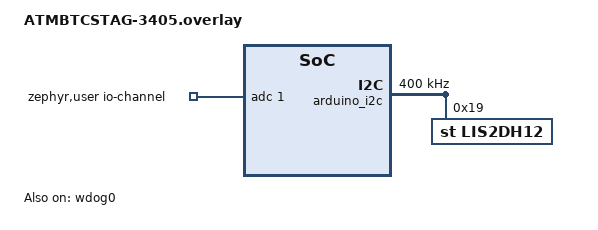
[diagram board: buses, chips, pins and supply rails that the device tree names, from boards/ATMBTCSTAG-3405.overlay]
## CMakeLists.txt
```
# Copyright (c) 2025-2026 Atmosic
#
# SPDX-License-Identifier: LicenseRef-Atmosic

cmake_minimum_required(VERSION 3.20.1)

find_package(Zephyr REQUIRED HINTS $ENV{ZEPHYR_BASE})
project(multimode_consumer_tag)

target_sources(app PRIVATE
  src/main.c
)

add_subdirectory(src/platform)
add_subdirectory_ifdef(CONFIG_AT_CMD_TAG_SET src/at_cmd)
```

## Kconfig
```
# Copyright (c) 2025-2026 Atmosic
#
# SPDX-License-Identifier: LicenseRef-Atmosic

module = MULTIMODE_CONSUMER_TAG
module-str = multimode_consumer_tag
source "subsys/logging/Kconfig.template.log_config"

config FMNA_TAG
	bool "Enable FMNA Tag"
	select ATM_FMNA
	default y

config FHN_TAG
	bool "Enable FHN Tag"
	select ATM_GFP
	select ATM_GFP_MUTLIMODE_TAG if FMNA_TAG || STF_TAG
	imply FAST_PAIR_AUTH_CB_GLOBAL if !FMNA_TAG && !STF_TAG
	default y

config STF_TAG
	bool "Enable STF Tag"
	select ATM_STF
	default y

config FMNA_DEV_CUSTOM_BT_ADDR
	bool "Enable custom Bluetooth device address for testing or development purposes"

config FMNA_DEV_CUSTOM_BT_ADDR_VALUE
	string "Custom Bluetooth address (MAC format: XX:XX:XX:XX:XX:XX)"
	depends on FMNA_DEV_CUSTOM_BT_ADDR
	default "ED:15:48:87:6E:EF"

config FMNA_PRODUCT_DATA
	string "FMNA Product Data"
	default "DFECEFF1E1FF54DB"

config FMNA_ACCESSORY_CATEGORY
	int "FMNA Accessory Category"
	range 0 255
	default 129

config FMNA_ACCESSORY_CAPABILITY
	int "FMNA Accessory Capability Bit Mask"
	range 0 65535
	default 31
	help
	  Bit 0: Supports play sound
	  Bit 1: Supports motion detector UT
	  Bit 2: Supports serial number lookup by NFC
	  Bit 3: Supports serial number lookup by BLE
	  Bit 4: Supports firmware update service

config FMNA_BATTERY_TYPE
	int "FMNA Battery Type"
	range 0 255
	default 1
	help
	  0: Powered
	  1: Non-rechargeable battery
	  2: Rechargeable battery

config FMNA_PID
	int "FMNA Product ID"
	range 0 65535
	default 51966

config FMNA_MANUFACTURER_NAME
	string "FMNA Manufacturer Name"
	default "Osprey"

config FMNA_MODEL_NAME
	string "FMNA Model Name"
	default "Bike"

config FMNA_HARDWARE_VERSION
	string "FMNA Hardware Version"
	default "1"

config FMNA_VERSION_MAJOR
	int "FMNA Version Major"
	range 0 65535
	default 1

config FMNA_VERSION_MINOR
	int "FMNA Version Minor"
	range 0 65535
	default 0

config FMNA_VERSION_REVISION
	int "FMNA Version Revision"
	range 0 65535
	default 18

config FMNA_CUSTOM_CONN_PARAMS
	bool "Request custom FMNA connection parameters after pairing"
	help
	  When enabled, the accessory requests the connection parameters below
	  after pairing. When disabled (default), the connection parameters are
	  left to the Apple device. Slave latency is always 0.

if FMNA_CUSTOM_CONN_PARAMS

config FMNA_CONN_INTERVAL_MIN
	int "Minimum connection interval (1.25 ms units)"
	range 6 3200
	default 756

config FMNA_CONN_INTERVAL_MAX
	int "Maximum connection interval (1.25 ms units)"
	range 6 3200
	default 792

config FMNA_CONN_TIMEOUT
	int "Supervision timeout (10 ms units)"
	range 10 3200
	default 600

endif # FMNA_CUSTOM_CONN_PARAMS

if FHN_TAG

config FHN_FW_VERSION
	string "FP Tag Firmware Version"
	default "1.0.0"
	help
	  Firmware version string for FHN tag. This version is returned by the
	  fp_tag_get_fw_version() function and used in FP tag operations.
	  The maximum length is (CONFIG_GFP_DIS_FW_VERSION_STR_MAX - 1).

config FHN_MOTION_DETECT_SUPPORT
	bool
	default y if !TAG_MOTION_SENSOR_TYPE_NONE || AT_CMD_TAGMOTIONRPT
	select DULT_MOTION_DETECT
	select DULT_MOTION_DETECT_TRIGGER if AT_CMD_TAGMOTIONRPT || (TAG_MOTION_SENSOR_TYPE_LIS2DH && LIS2DH_TRIGGER)
	select FMDN_OOB_MOTION_DETECT_TRIGGER if CONFIG_FMDN_PRECISION_FINDING && (AT_CMD_TAGMOTIONRPT || (TAG_MOTION_SENSOR_TYPE_LIS2DH && LIS2DH_TRIGGER))

rsource "fhn_tag.defconfig"

endif # FHN_TAG

config TAG_BUTTON
	bool "Enable physical button control"
	default y

config TAG_BTN_POWER_CTRL
	bool "Enable button power on/off control"
	depends on TAG_BUTTON
	select PM
	help
	  Enable button control for power on/off functionality.
	  2s press to power on/off with LED indication.

config TAG_BTN_FACTORY_RESET
	bool "Enable factory reset with long press button"
	depends on TAG_BUTTON
	help
	  Long press button for 10 secs to trigger factory reset in power on
	  state. Pressing 2 secs would trigger power off key first and keep
	  pressing until 10 secs would trigger factory reset then enter off state.

config TAG_BTN_BATT_REPORT
	bool "Enable battery level detection with button"
	depends on TAG_BUTTON
	help
	  Quick press button 5 times to show battery level with LED indication.

config TAG_OTA_MODE
	bool "Enable OTA mode"
	default y if BOOTLOADER_MCUBOOT && MCUMGR_TRANSPORT_BT
	help
	  Enable OTA firmware update mode. Enables platform_ctrl_ota and
	  allows entry via button tap or long press.

config TAG_BTN_OTA_TAP_CNT
	int "Number of taps to enter OTA mode (0 to disable)"
	depends on TAG_OTA_MODE
	default 10
	range 0 20
	help
	  Quick press button this many times to enter OTA mode.
	  Set to 0 to disable tap entry.

config TAG_BTN_OTA_LONG_PRESS_MS
	int "Button hold duration to enter OTA mode in ms (0 to disable)"
	depends on TAG_OTA_MODE
	default 0 if TAG_BTN_FACTORY_RESET
	default 7000
	range 0 60000
	help
	  Hold the button for this many milliseconds to enter OTA mode.
	  Set to 0 to disable long press entry.

config TAG_BTN_OTA_BOOT_WINDOW_MS
	int "Boot window for OTA mode entry in ms (0 to disable)"
	depends on TAG_OTA_MODE
	default 0
	range 0 3600000
	help
	  OTA mode can only be entered within this many milliseconds of booting.
	  After the window expires, tap and long-press will no longer trigger OTA
	  mode entry. Set to 0 to allow entry at any time.

config TAG_OTA_TIMEOUT_MS
	int "OTA mode inactivity timeout in ms (0 to disable)"
	depends on TAG_OTA_MODE
	default 0
	range 0 3600000
	help
	  Timeout in ms before the device reboots back to normal mode if no
	  DFU transfer completes. Set to 0 to disable the timeout.

config TAG_OTA_DEVICE_NAME
	string "OTA mode BLE device name"
	depends on TAG_OTA_MODE
	default "Atmosic OTA"
	help
	  BLE device name advertised when the device is in OTA mode.

config TAG_BTN_FMNA_SN_LOOKUP
	bool "Enable FMNA SN lookup with button short press 6 times"
	depends on TAG_BUTTON && FMNA_TAG
	default y
	help
	  Quick press button 6 times to enable the FMNA paired-owner serial
	  number (SN) readout. Required by Apple FindMy certification test #8:
	  the encrypted SN payload is non-readable in normal state and only
	  becomes readable for 5 minutes after this user action. After the
	  5 minute window the SN is automatically gated again with no further
	  user action.

config TAG_BTN_LOG_FMNA_MFI_TOKEN
	bool "Log MFI token with button short press 8 times"
	depends on TAG_BUTTON && FMNA_TAG
	default y
	help
	  Log MFI token with button short press 8 times.

config TAG_LED_IND
	bool "Enable LED indication for state and button"
	select LED
	help
	  Power on: Green LED blinks 3 times
	  Power off: Red LED blinks 3 times
	  Pairing mode: Green blink -> Red blink every 5 secs
	  Operation mode: Green LED blinks every 20 secs
	  Battery Status:
	    >90% 5 GREEN blinks
	    >60% 4 GREEN blinks
	    >30% 3 GREEN blinks
	    >10% 2 GREEN blinks
	    <=10% single GREEN blink

config TAG_SOC_OFF_TIMEOUT
	int "SOC off timeout in pairing mode (seconds)"
	range 0 300
	default 180
	help
	  Timeout in seconds to enter SOC_off mode when in pairing mode.
	  Set to 0 to disable timeout.

config TAG_BUZZER
	bool "Enable buzzer hardware support"
	default $(dt_nodelabel_enabled,pwm_buzzer0)

config TAG_AUDIO_FEEDBACK
	bool "Enable audio feedback for factory reset"
	select ATM_BUZZER
	depends on TAG_BUZZER
	help
	  Enable audio feedback when factory reset is triggered.

choice TAG_MOTION_SENSOR_TYPE
	prompt "Motion detection type"
	default TAG_MOTION_SENSOR_TYPE_LIS2DH if DT_HAS_ST_LIS2DH_ENABLED
	default TAG_MOTION_SENSOR_TYPE_NONE

config TAG_MOTION_SENSOR_TYPE_LIS2DH
	bool "LIS2DH motion sensor"
	select LIS2DH
	select SENSOR

config TAG_MOTION_SENSOR_TYPE_NONE
	bool "No motion detection"

endchoice

config ATM_LL_HEAP_SIZE
	int "Override LL heap size"
	default 41396 if ATM_LCROM_IFACE && ATMWSTK_PD50
	default 36364 if ATM_ENA_LL_FEAT_CS && ATMWSTK_PD50
	default 61396 if ATM_LCROM_IFACE && ATMWSTK_CPD200
	default 81396 if ATM_LCROM_IFACE
	default 28656

config APP_WORK_Q_STACK_SIZE
	int "Application work queue stack size"
	default 4096

config MCUMGR_MGMT_NOTIFICATION_HOOKS
	bool "Enable MCUmgr notification hooks"
	default y if MCUMGR_TRANSPORT_UART

config MCUMGR_GRP_IMG_STATUS_HOOKS
	bool "Enable MCUmgr image status hooks"
	default y if MCUMGR_TRANSPORT_UART

source "Kconfig.zephyr"
```

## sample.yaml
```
# Copyright (c) 2026 Atmosic
#
# SPDX-License-Identifier: LicenseRef-Atmosic

sample:
  description: FMNA and FHN Multimode Consumer Tag
  name: FMNA and FHN Multimode Consumer Tag
common:
  sysbuild: true
  harness: console
  # app.overlay aliases sw0 to &button1, so it only compiles on a board
  # declaring a second user button.
  depends_on:
    - button1
  tags:
    - multimode_consumer_tag
    - bluetooth
tests:
  applications.multimode_consumer_tag.atm:
    extra_args:
      - SB_ATM_DTS_EXTRA_CPPFLAGS="-DATM_STORAGE_SIZE=0x1000"
      - EXTRA_CONF_FILE="stf_tag.conf"
    harness_config:
      type: multi_line
      regex:
      - "fmna: Advertising successfully started"
      - "fp: FP Discoverable Advertising successfully started"
      - "advP:"
  applications.multimode_consumer_tag.atm.default_storage_size:
    extra_args:
      - EXTRA_CONF_FILE="stf_tag.conf"
    harness_config:
      type: multi_line
      regex:
      - "fmna: Advertising successfully started"
      - "fp: FP Discoverable Advertising successfully started"
      - "advP:"
  applications.multimode_consumer_tag.atm.fhn_only:
    extra_args:
      - SB_ATM_DTS_EXTRA_CPPFLAGS="-DATM_STORAGE_SIZE=0x1000"
    extra_configs:
      - CONFIG_STF_TAG=n
      - CONFIG_FMNA_TAG=n
      - CONFIG_GEN_TAG_DATA_BIN_FILE=n
    harness_config:
      type: one_line
      regex:
      - "Press button to start pairing"
  applications.multimode_consumer_tag.atm.fmna_only:
    extra_args:
      - SB_ATM_DTS_EXTRA_CPPFLAGS="-DATM_STORAGE_SIZE=0x2000"
    extra_configs:
      - CONFIG_STF_TAG=n
      - CONFIG_FHN_TAG=n
    harness_config:
      type: one_line
      regex:
      - "fmna: Advertising successfully started"
  applications.multimode_consumer_tag.atm.stf_only:
    extra_args:
      - SB_ATM_DTS_EXTRA_CPPFLAGS="-DATM_STORAGE_SIZE=0x1000"
      - EXTRA_CONF_FILE="stf_tag.conf"
    extra_configs:
      - CONFIG_FHN_TAG=n
      - CONFIG_FMNA_TAG=n
      - CONFIG_BATT_MODEL_COIN=n
      - CONFIG_ATM_STF_MULTI_MODE=n
      - CONFIG_BT_EXT_ADV=n
      - CONFIG_BT_SETTINGS=n
      - CONFIG_GEN_TAG_DATA_BIN_FILE=n
    harness_config:
      type: one_line
      regex:
      - "advP:"
  applications.multimode_consumer_tag.atm.fhn_fmna_tag:
    tags:
      - openair_release
    extra_args:
      - SB_ATM_DTS_EXTRA_CPPFLAGS="-DATM_STORAGE_SIZE=0x1000"
    extra_configs:
      - CONFIG_STF_TAG=n
    harness_config:
      type: multi_line
      regex:
      - "fmna: Advertising successfully started"
      - "fp: FP Discoverable Advertising successfully started"
  applications.multimode_consumer_tag.atm.stf_fmna_tag:
    extra_args:
      - SB_ATM_DTS_EXTRA_CPPFLAGS="-DATM_STORAGE_SIZE=0x1000"
      - EXTRA_CONF_FILE="stf_tag.conf"
    extra_configs:
      - CONFIG_FHN_TAG=n
    harness_config:
      type: multi_line
      regex:
      - "fmna: Advertising successfully started"
      - "advP:"
  applications.multimode_consumer_tag.atm.stf_fhn_tag:
    extra_args:
      - EXTRA_CONF_FILE="stf_tag.conf"
    extra_configs:
      - CONFIG_FMNA_TAG=n
      - CONFIG_GEN_TAG_DATA_BIN_FILE=n
    harness_config:
      type: multi_line
      regex:
      - "fp: FP Discoverable Advertising successfully started"
      - "advP:"
  applications.multimode_consumer_tag.atm.fhn_only.mcuboot.ota:
    tags:
      - mcuboot
    extra_args:
      - SB_ATM_DTS_EXTRA_CPPFLAGS="-DATM_STORAGE_SIZE=0x1000"
      - SB_CONFIG_BOOTLOADER_MCUBOOT=y
      - SB_CONFIG_BOOT_SIGNATURE_TYPE_ECDSA_P256=y
      - SB_CONFIG_MCUBOOT_MODE_SWAP_USING_OFFSET=y
      - EXTRA_CONF_FILE="basic_ota_bt.conf"
    extra_configs:
      - CONFIG_STF_TAG=n
      - CONFIG_FMNA_TAG=n
      - CONFIG_GEN_TAG_DATA_BIN_FILE=n
    harness_config:
      type: one_line
      regex:
      - "Press button to start pairing"
  applications.multimode_consumer_tag.atm.fmna_only.mcuboot.uarp:
    tags:
      - mcuboot
    extra_args:
      - SB_CONFIG_BOOTLOADER_MCUBOOT=y
      - SB_CONFIG_BOOT_SIGNATURE_TYPE_ECDSA_P256=y
      - SB_CONFIG_MCUBOOT_MODE_SWAP_USING_OFFSET=y
      - SB_ATM_DTS_EXTRA_CPPFLAGS="-DATM_STORAGE_SIZE=0x2000"
    extra_configs:
      - CONFIG_STF_TAG=n
      - CONFIG_FHN_TAG=n
      - CONFIG_USE_UARP=y
    harness_config:
      type: one_line
      regex:
      - "fmna: Advertising successfully started"
  applications.multimode_consumer_tag.atm.stf_only.mcuboot.native_fw_update_only:
    tags:
      - mcuboot
    extra_args:
      - SB_ATM_DTS_EXTRA_CPPFLAGS="-DATM_STORAGE_SIZE=0x1000"
      - SB_CONFIG_BOOTLOADER_MCUBOOT=y
      - SB_CONFIG_BOOT_SIGNATURE_TYPE_ECDSA_P256=y
      - SB_CONFIG_MCUBOOT_MODE_SWAP_SCRATCH=y
      - SB_ATM_DTS_EXTRA_CPPFLAGS="-DATM_MCUBOOT_SWAP_WITH_OFFSET=0"
      - EXTRA_CONF_FILE="stf_tag.conf"
    extra_configs:
      - CONFIG_FHN_TAG=n
      - CONFIG_FMNA_TAG=n
      - CONFIG_BATT_MODEL_COIN=n
      - CONFIG_ATM_STF_MULTI_MODE=n
      - CONFIG_BT_EXT_ADV=n
      - CONFIG_BT_SETTINGS=n
      - CONFIG_GEN_TAG_DATA_BIN_FILE=n
    harness_config:
      type: one_line
      regex:
      - "advP:"
  applications.multimode_consumer_tag.atm.stf_only.mcuboot.ota:
    tags:
      - mcuboot
    extra_args:
      - SB_ATM_DTS_EXTRA_CPPFLAGS="-DATM_STORAGE_SIZE=0x1000"
      - SB_CONFIG_BOOTLOADER_MCUBOOT=y
      - SB_CONFIG_BOOT_SIGNATURE_TYPE_ECDSA_P256=y
      - SB_CONFIG_MCUBOOT_MODE_SWAP_USING_OFFSET=y
      - EXTRA_CONF_FILE="basic_ota_bt.conf;stf_tag.conf"
    extra_configs:
      - CONFIG_FHN_TAG=n
      - CONFIG_FMNA_TAG=n
      - CONFIG_BATT_MODEL_COIN=n
      - CONFIG_GEN_TAG_DATA_BIN_FILE=n
    harness_config:
      type: one_line
      regex:
      - "advP:"

  applications.multimode_consumer_tag.atm.fhn_fmna_tag.mcuboot.overwrite.ota:
    tags:
      - mcuboot
      - overwrite
    extra_args:
      - SB_CONFIG_BOOTLOADER_MCUBOOT=y
      - SB_CONFIG_BOOT_SIGNATURE_TYPE_ECDSA_P256=y
      - SB_CONFIG_MCUBOOT_MODE_OVERWRITE_ONLY=y
      - SB_ATM_DTS_EXTRA_CPPFLAGS="-DATM_STORAGE_SIZE=0x1000;-DATM_MCUBOOT_SCRATCH_SIZE=0;-DATM_MCUBOOT_SWAP_WITH_OFFSET=0"
      - EXTRA_CONF_FILE="basic_ota_bt.conf"
    extra_configs:
      - CONFIG_STF_TAG=n
      - CONFIG_ATM_FMNA_LIB_DEBUG=n
      - CONFIG_ATM_FMNA_GATT_DEBUG=y
    harness_config:
      type: multi_line
      regex:
      - "fmna: Advertising successfully started"
      - "fp: FP Discoverable Advertising successfully started"
  applications.multimode_consumer_tag.atm.fhn_fmna_tag.mcuboot.legacy_scratch.ota:
    tags:
      - mcuboot
      - legacy
    extra_args:
      - SB_CONFIG_BOOTLOADER_MCUBOOT=y
      - SB_CONFIG_BOOT_SIGNATURE_TYPE_ECDSA_P256=y
      - SB_CONFIG_MCUBOOT_MODE_SWAP_SCRATCH=y
      - SB_ATM_DTS_EXTRA_CPPFLAGS="-DATM_STORAGE_SIZE=0x1000;-DATM_MCUBOOT_SWAP_WITH_OFFSET=0"
      - EXTRA_CONF_FILE="basic_ota_bt.conf"
    extra_configs:
      - CONFIG_STF_TAG=n
      - CONFIG_ATM_FMNA_LIB_DEBUG=n
      - CONFIG_ATM_FMNA_GATT_DEBUG=y
    harness_config:
      type: multi_line
      regex:
      - "fmna: Advertising successfully started"
      - "fp: FP Discoverable Advertising successfully started"
  applications.multimode_consumer_tag.atm.stf_fmna_tag.mcuboot.overwrite.ota:
    tags:
      - mcuboot
      - overwrite
    depends_on:
      - atlc
    extra_args:
      - SB_CONFIG_BOOTLOADER_MCUBOOT=y
      - SB_CONFIG_BOOT_SIGNATURE_TYPE_ECDSA_P256=y
      - SB_CONFIG_MCUBOOT_MODE_OVERWRITE_ONLY=y
      - SB_ATM_DTS_EXTRA_CPPFLAGS="-DATM_STORAGE_SIZE=0x1000;-DATM_MCUBOOT_SCRATCH_SIZE=0;-DATM_MCUBOOT_SWAP_WITH_OFFSET=0"
      - EXTRA_CONF_FILE="basic_ota_bt.conf;stf_tag.conf"
    extra_configs:
      - CONFIG_FHN_TAG=n
      - CONFIG_ATM_FMNA_LIB_DEBUG=n
      - CONFIG_ATM_FMNA_GATT_DEBUG=y
    harness_config:
      type: multi_line
      regex:
      - "fmna: Advertising successfully started"
      - "advP:"
  applications.multimode_consumer_tag.atm.stf_fmna_tag.mcuboot.legacy_scratch.ota:
    tags:
      - mcuboot
      - legacy
    depends_on:
      - atlc
    extra_args:
      - SB_CONFIG_BOOTLOADER_MCUBOOT=y
      - SB_CONFIG_BOOT_SIGNATURE_TYPE_ECDSA_P256=y
      - SB_CONFIG_MCUBOOT_MODE_SWAP_SCRATCH=y
      - SB_ATM_DTS_EXTRA_CPPFLAGS="-DATM_STORAGE_SIZE=0x1000;-DATM_MCUBOOT_SWAP_WITH_OFFSET=0"
      - EXTRA_CONF_FILE="basic_ota_bt.conf;stf_tag.conf"
    extra_configs:
      - CONFIG_FHN_TAG=n
      - CONFIG_ATM_FMNA_LIB_DEBUG=n
      - CONFIG_ATM_FMNA_GATT_DEBUG=y
    harness_config:
      type: multi_line
      regex:
      - "fmna: Advertising successfully started"
      - "advP:"
  applications.multimode_consumer_tag.atm.mcuboot.flash_xip.ota:
    tags:
      - mcuboot
      - flash_xip
    depends_on: &flash_xip_depends
      - flash
      - rram
      - xip
    extra_args:
      - SB_CONFIG_BOOTLOADER_MCUBOOT=y
      - SB_CONFIG_BOOT_SIGNATURE_TYPE_ECDSA_P256=y
      - SB_CONFIG_MCUBOOT_MODE_SWAP_USING_OFFSET=y
      - SB_ATM_DTS_EXTRA_CPPFLAGS="-DATM_APP_FLASH_XIP;-DATM_STORAGE_SIZE=0x1000;-DATM_MCUBOOT_SCRATCH_SIZE=0"
      - mcuboot_CONFIG_UPDATEABLE_IMAGE_NUMBER=2
      - EXTRA_CONF_FILE="basic_ota_bt.conf;stf_tag.conf"
    harness_config:
      type: multi_line
      regex:
      - "fmna: Advertising successfully started"
      - "fp: FP Discoverable Advertising successfully started"
      - "advP:"
  applications.multimode_consumer_tag.atm.mcuboot.flash_xip.overwrite.ota:
    tags:
      - mcuboot
      - flash_xip
      - overwrite
    depends_on: *flash_xip_depends
    extra_args:
      - SB_CONFIG_BOOTLOADER_MCUBOOT=y
      - SB_CONFIG_BOOT_SIGNATURE_TYPE_ECDSA_P256=y
      - SB_CONFIG_MCUBOOT_MODE_OVERWRITE_ONLY=y
      - SB_ATM_DTS_EXTRA_CPPFLAGS="-DATM_APP_FLASH_XIP;-DATM_MCUBOOT_SCRATCH_SIZE=0;-DATM_MCUBOOT_SWAP_WITH_OFFSET=0;-DATM_STORAGE_SIZE=0x1000"
      - mcuboot_CONFIG_UPDATEABLE_IMAGE_NUMBER=2
      - mcuboot_CONFIG_MCUBOOT_VERIFY_IMG_ADDRESS=n
      - EXTRA_CONF_FILE="basic_ota_bt.conf;stf_tag.conf"
    harness_config:
      type: multi_line
      regex:
      - "fmna: Advertising successfully started"
      - "fp: FP Discoverable Advertising successfully started"
      - "advP:"
  applications.multimode_consumer_tag.atm.mcuboot.flash_xip.legacy_scratch.ota:
    tags:
      - mcuboot
      - flash_xip
      - legacy
    depends_on: *flash_xip_depends
    extra_args:
      - SB_CONFIG_BOOTLOADER_MCUBOOT=y
      - SB_CONFIG_BOOT_SIGNATURE_TYPE_ECDSA_P256=y
      - SB_CONFIG_MCUBOOT_MODE_SWAP_SCRATCH=y
      - SB_ATM_DTS_EXTRA_CPPFLAGS="-DATM_APP_FLASH_XIP;-DATM_STORAGE_SIZE=0x1000;-DATM_MCUBOOT_SWAP_WITH_OFFSET=0"
      - mcuboot_CONFIG_UPDATEABLE_IMAGE_NUMBER=2
      - EXTRA_CONF_FILE="basic_ota_bt.conf;stf_tag.conf"
    harness_config:
      type: multi_line
      regex:
      - "fmna: Advertising successfully started"
      - "fp: FP Discoverable Advertising successfully started"
      - "advP:"
  applications.multimode_consumer_tag.atm.fhn_fmna_tag.mcuboot.flash_xip.ota:
    tags:
      - mcuboot
      - flash_xip
    depends_on: *flash_xip_depends
    extra_args:
      - SB_CONFIG_BOOTLOADER_MCUBOOT=y
      - SB_CONFIG_BOOT_SIGNATURE_TYPE_ECDSA_P256=y
      - SB_CONFIG_MCUBOOT_MODE_SWAP_USING_OFFSET=y
      - SB_ATM_DTS_EXTRA_CPPFLAGS="-DATM_APP_FLASH_XIP;-DATM_STORAGE_SIZE=0x1000;-DATM_MCUBOOT_SCRATCH_SIZE=0"
      - mcuboot_CONFIG_UPDATEABLE_IMAGE_NUMBER=2
      - EXTRA_CONF_FILE="basic_ota_bt.conf"
    extra_configs:
      - CONFIG_STF_TAG=n
      - CONFIG_ATM_FMNA_LIB_DEBUG=n
      - CONFIG_ATM_FMNA_GATT_DEBUG=y
    harness_config:
      type: multi_line
      regex:
      - "fmna: Advertising successfully started"
      - "fp: FP Discoverable Advertising successfully started"
  applications.multimode_consumer_tag.atm.stf_fmna_tag.mcuboot.flash_xip.ota:
    tags:
      - mcuboot
      - flash_xip
    depends_on: *flash_xip_depends
    extra_args:
      - SB_CONFIG_BOOTLOADER_MCUBOOT=y
      - SB_CONFIG_BOOT_SIGNATURE_TYPE_ECDSA_P256=y
      - SB_CONFIG_MCUBOOT_MODE_SWAP_USING_OFFSET=y
      - SB_ATM_DTS_EXTRA_CPPFLAGS="-DATM_APP_FLASH_XIP;-DATM_STORAGE_SIZE=0x1000;-DATM_MCUBOOT_SCRATCH_SIZE=0"
      - mcuboot_CONFIG_UPDATEABLE_IMAGE_NUMBER=2
      - EXTRA_CONF_FILE="basic_ota_bt.conf;stf_tag.conf"
    extra_configs:
      - CONFIG_FHN_TAG=n
      - CONFIG_ATM_FMNA_LIB_DEBUG=n
      - CONFIG_ATM_FMNA_GATT_DEBUG=y
    harness_config:
      type: multi_line
      regex:
      - "fmna: Advertising successfully started"
      - "advP:"
  applications.multimode_consumer_tag.atm.stf_fhn_tag.mcuboot.flash_xip.ota:
    tags:
      - mcuboot
      - flash_xip
    depends_on: *flash_xip_depends
    extra_args:
      - SB_CONFIG_BOOTLOADER_MCUBOOT=y
      - SB_CONFIG_BOOT_SIGNATURE_TYPE_ECDSA_P256=y
      - SB_CONFIG_MCUBOOT_MODE_SWAP_USING_OFFSET=y
      - SB_ATM_DTS_EXTRA_CPPFLAGS="-DATM_APP_FLASH_XIP;-DATM_STORAGE_SIZE=0x1000;-DATM_MCUBOOT_SCRATCH_SIZE=0"
      - mcuboot_CONFIG_UPDATEABLE_IMAGE_NUMBER=2
      - EXTRA_CONF_FILE="basic_ota_bt.conf;stf_tag.conf"
    extra_configs:
      - CONFIG_FMNA_TAG=n
      - CONFIG_GEN_TAG_DATA_BIN_FILE=n
    harness_config:
      type: multi_line
      regex:
      - "fp: FP Discoverable Advertising successfully started"
      - "advP:"
  applications.multimode_consumer_tag.atm.stf_fhn_tag.mcuboot.flash_xip.legacy_scratch.ota:
    tags:
      - mcuboot
      - flash_xip
      - legacy
    depends_on: *flash_xip_depends
    extra_args:
      - SB_CONFIG_BOOTLOADER_MCUBOOT=y
      - SB_CONFIG_BOOT_SIGNATURE_TYPE_ECDSA_P256=y
      - SB_CONFIG_MCUBOOT_MODE_SWAP_SCRATCH=y
      - SB_ATM_DTS_EXTRA_CPPFLAGS="-DATM_APP_FLASH_XIP;-DATM_STORAGE_SIZE=0x1000;-DATM_MCUBOOT_SWAP_WITH_OFFSET=0"
      - mcuboot_CONFIG_UPDATEABLE_IMAGE_NUMBER=2
      - EXTRA_CONF_FILE="basic_ota_bt.conf;stf_tag.conf"
    extra_configs:
      - CONFIG_FMNA_TAG=n
      - CONFIG_GEN_TAG_DATA_BIN_FILE=n
    harness_config:
      type: multi_line
      regex:
      - "fp: FP Discoverable Advertising successfully started"
      - "advP:"
  applications.multimode_consumer_tag.atm.stf_fhn_tag.mcuboot.flash_xip.overwrite.ota:
    tags:
      - mcuboot
      - flash_xip
      - legacy
    depends_on: *flash_xip_depends
    extra_args:
      - SB_CONFIG_BOOTLOADER_MCUBOOT=y
      - SB_CONFIG_BOOT_SIGNATURE_TYPE_ECDSA_P256=y
      - SB_CONFIG_MCUBOOT_MODE_OVERWRITE_ONLY=y
      - SB_ATM_DTS_EXTRA_CPPFLAGS="-DATM_APP_FLASH_XIP;-DATM_STORAGE_SIZE=0x1000;-DATM_MCUBOOT_SCRATCH_SIZE=0;-DATM_MCUBOOT_SWAP_WITH_OFFSET=0"
      - mcuboot_CONFIG_UPDATEABLE_IMAGE_NUMBER=2
      - EXTRA_CONF_FILE="basic_ota_bt.conf;stf_tag.conf"
    extra_configs:
      - CONFIG_FMNA_TAG=n
      - CONFIG_GEN_TAG_DATA_BIN_FILE=n
    harness_config:
      type: multi_line
      regex:
      - "fp: FP Discoverable Advertising successfully started"
      - "advP:"
  applications.multimode_consumer_tag.atm.fhn_fmna_tag.cs_demo:
    tags:
      - channel_sounding
      - openair_release
    depends_on:
      - channel_sounding
    extra_args:
      - SB_ATM_DTS_EXTRA_CPPFLAGS="-DATM_STORAGE_SIZE=0x1000"
      - EXTRA_CONF_FILE="basic_cs_pd50.conf"
    extra_configs:
      - CONFIG_ATM_CS=y
      - CONFIG_BT_CHANNEL_SOUNDING=y
      - CONFIG_BT_RAS=y
      - CONFIG_STF_TAG=n
    harness_config:
      type: multi_line
      regex:
      - "fmna: Advertising successfully started"
      - "fp: FP Discoverable Advertising successfully started"
  applications.multimode_consumer_tag.atm.fhn_fmna_tag.cs_demo.mcuboot.flash_xip.ota:
    tags:
      - mcuboot
      - flash_xip
      - channel_sounding
    depends_on:
      - channel_sounding
      - flash
      - rram
      - xip
    extra_args:
      - SB_CONFIG_BOOTLOADER_MCUBOOT=y
      - SB_CONFIG_BOOT_SIGNATURE_TYPE_ECDSA_P256=y
      - SB_CONFIG_MCUBOOT_MODE_SWAP_USING_OFFSET=y
      - SB_ATM_DTS_EXTRA_CPPFLAGS="-DATM_APP_FLASH_XIP;-DATM_STORAGE_SIZE=0x1000;-DATM_MCUBOOT_SCRATCH_SIZE=0"
      - mcuboot_CONFIG_UPDATEABLE_IMAGE_NUMBER=2
      - EXTRA_CONF_FILE="basic_ota_bt.conf;basic_cs_pd50.conf"
    extra_configs:
      - CONFIG_ATM_CS=y
      - CONFIG_BT_CHANNEL_SOUNDING=y
      - CONFIG_BT_RAS=y
      - CONFIG_STF_TAG=n
      - CONFIG_ATM_FMNA_LIB_DEBUG=n
      - CONFIG_ATM_FMNA_GATT_DEBUG=y
    harness_config:
      type: multi_line
      regex:
      - "fmna: Advertising successfully started"
      - "fp: FP Discoverable Advertising successfully started"
  applications.multimode_consumer_tag.atm.fhn_fmna_tag.oob_de.cs.mcuboot.flash_xip.uarp.ota:
    tags:
      - mcuboot
      - flash_xip
      - channel_sounding
    depends_on:
      - channel_sounding
      - flash
      - rram
      - xip
    extra_args:
      - SB_CONFIG_BOOTLOADER_MCUBOOT=y
      - SB_CONFIG_BOOT_SIGNATURE_TYPE_ECDSA_P256=y
      - SB_CONFIG_MCUBOOT_MODE_SWAP_SCRATCH=y
      - SB_ATM_DTS_EXTRA_CPPFLAGS="-DATM_APP_FLASH_XIP;-DATM_STORAGE_SIZE=0x2000;-DATM_MCUBOOT_SWAP_WITH_OFFSET=0"
      - mcuboot_CONFIG_UPDATEABLE_IMAGE_NUMBER=2
      - EXTRA_CONF_FILE="basic_ota_bt.conf;basic_cs_pd50.conf"
    extra_configs:
      - CONFIG_STF_TAG=n
      - CONFIG_ATM_FMNA_LIB_DEBUG=n
      - CONFIG_ATM_FMNA_GATT_DEBUG=y
      - CONFIG_USE_UARP=y
      - CONFIG_BT_CHANNEL_SOUNDING=y
      - CONFIG_BT_RAS=y
      - CONFIG_FMDN_PRECISION_FINDING=y
      - CONFIG_FMDN_RANGING_OOB_DE_TYPE_UWB_EN=n
      - CONFIG_FMDN_RANGING_OOB_DE_TYPE_BLE_CS_EN=y
    harness_config:
      type: multi_line
      regex:
      - "fmna: Advertising successfully started"
      - "fp: FP Discoverable Advertising successfully started"
  applications.multimode_consumer_tag.atm.fhn_fmna_tag.v2.oob_de.cs.mcuboot.flash_xip.uarp.ota:
    tags:
      - mcuboot
      - flash_xip
      - channel_sounding
    depends_on:
      - channel_sounding
      - flash
      - rram
      - xip
    extra_args:
      - SB_CONFIG_BOOTLOADER_MCUBOOT=y
      - SB_CONFIG_BOOT_SIGNATURE_TYPE_ECDSA_P256=y
      - SB_CONFIG_MCUBOOT_MODE_SWAP_SCRATCH=y
      - SB_ATM_DTS_EXTRA_CPPFLAGS="-DATM_APP_FLASH_XIP;-DATM_STORAGE_SIZE=0x3000;-DATM_MCUBOOT_SWAP_WITH_OFFSET=0"
      - mcuboot_CONFIG_UPDATEABLE_IMAGE_NUMBER=2
      - EXTRA_CONF_FILE="basic_ota_bt.conf;basic_cs_pd50.conf"
    extra_configs:
      - CONFIG_STF_TAG=n
      - CONFIG_ATM_FMNA_LIB_DEBUG=n
      - CONFIG_ATM_FMNA_GATT_DEBUG=y
      - CONFIG_USE_UARP=y
      - CONFIG_BT_CHANNEL_SOUNDING=y
      - CONFIG_BT_RAS=y
      - CONFIG_FAST_PAIR_FMDN_V2=y
      - CONFIG_BT_MAX_PAIRED=16
      - CONFIG_SYSTEM_WORKQUEUE_STACK_SIZE=4096
      - CONFIG_BT_RX_STACK_SIZE=4096
      - CONFIG_FMDN_PRECISION_FINDING=y
      - CONFIG_FMDN_RANGING_OOB_DE_TYPE_UWB_EN=n
      - CONFIG_FMDN_RANGING_OOB_DE_TYPE_BLE_CS_EN=y
    harness_config:
      type: multi_line
      regex:
      - "fmna: Advertising successfully started"
      - "fp: FP Discoverable Advertising successfully started"
  applications.multimode_consumer_tag.atm.fhn_only.oob_de:
    tags:
      - channel_sounding
    depends_on:
      - channel_sounding
    extra_args:
      - SB_ATM_DTS_EXTRA_CPPFLAGS="-DATM_STORAGE_SIZE=0x1000"
      - EXTRA_CONF_FILE="basic_cs_pd50.conf"
    extra_configs:
      - CONFIG_STF_TAG=n
      - CONFIG_FMNA_TAG=n
      - CONFIG_GEN_TAG_DATA_BIN_FILE=n
      - CONFIG_BT_CHANNEL_SOUNDING=y
      - CONFIG_BT_RAS=y
      - CONFIG_FMDN_PRECISION_FINDING=y
      - CONFIG_FMDN_RANGING_OOB_DE_TYPE_UWB_EN=y
      - CONFIG_FMDN_RANGING_OOB_DE_TYPE_BLE_CS_EN=y
    harness_config:
      type: one_line
      regex:
      - "Press button to start pairing"
  applications.multimode_consumer_tag.atm.fhn_only.oob_de.cs:
    tags:
      - channel_sounding
    depends_on:
      - channel_sounding
    extra_args:
      - SB_ATM_DTS_EXTRA_CPPFLAGS="-DATM_STORAGE_SIZE=0x1000"
      - EXTRA_CONF_FILE="basic_cs_pd50.conf"
    extra_configs:
      - CONFIG_STF_TAG=n
      - CONFIG_FMNA_TAG=n
      - CONFIG_GEN_TAG_DATA_BIN_FILE=n
      - CONFIG_BT_CHANNEL_SOUNDING=y
      - CONFIG_BT_RAS=y
      - CONFIG_FMDN_PRECISION_FINDING=y
      - CONFIG_FMDN_RANGING_OOB_DE_TYPE_UWB_EN=n
      - CONFIG_FMDN_RANGING_OOB_DE_TYPE_BLE_CS_EN=y
    harness_config:
      type: one_line
      regex:
      - "Press button to start pairing"
  applications.multimode_consumer_tag.atm.fhn_only.oob_de.uwb:
    extra_args:
      - SB_ATM_DTS_EXTRA_CPPFLAGS="-DATM_STORAGE_SIZE=0x1000"
    extra_configs:
      - CONFIG_STF_TAG=n
      - CONFIG_FMNA_TAG=n
      - CONFIG_GEN_TAG_DATA_BIN_FILE=n
      - CONFIG_FMDN_PRECISION_FINDING=y
      - CONFIG_FMDN_RANGING_OOB_DE_TYPE_UWB_EN=y
      - CONFIG_FMDN_RANGING_OOB_DE_TYPE_BLE_CS_EN=n
    harness_config:
      type: one_line
      regex:
      - "Press button to start pairing"
  applications.multimode_consumer_tag.atm.fhn_only.v2:
    extra_args:
      - SB_ATM_DTS_EXTRA_CPPFLAGS="-DATM_STORAGE_SIZE=0x2000"
      - EXTRA_CONF_FILE="basic_cs_pd50.conf"
    extra_configs:
      - CONFIG_STF_TAG=n
      - CONFIG_FMNA_TAG=n
      - CONFIG_GEN_TAG_DATA_BIN_FILE=n
      - CONFIG_BT_CHANNEL_SOUNDING=y
      - CONFIG_BT_RAS=y
      - CONFIG_FMDN_PRECISION_FINDING=y
      - CONFIG_FMDN_RANGING_OOB_DE_TYPE_UWB_EN=y
      - CONFIG_FMDN_RANGING_OOB_DE_TYPE_BLE_CS_EN=y
      - CONFIG_FAST_PAIR_FMDN_V2=y
      - CONFIG_BT_MAX_PAIRED=16
      - CONFIG_SYSTEM_WORKQUEUE_STACK_SIZE=4096
      - CONFIG_BT_RX_STACK_SIZE=4096
    harness_config:
      type: one_line
      regex:
      - "Press button to start pairing"
  applications.multimode_consumer_tag.atm.fhn_only.merge_adv:
    extra_args:
      - SB_ATM_DTS_EXTRA_CPPFLAGS="-DATM_STORAGE_SIZE=0x1000"
    extra_configs:
      - CONFIG_STF_TAG=n
      - CONFIG_FMNA_TAG=n
      - CONFIG_GEN_TAG_DATA_BIN_FILE=n
      - CONFIG_FAST_PAIR_FMDN_MERGED_ADV=y
    harness_config:
      type: one_line
      regex:
      - "Press button to start pairing"
  applications.multimode_consumer_tag.atm.mcuboot.flash_xip.at_cmd:
    tags:
      - mcuboot
      - flash_xip
      - at_cmd
      - channel_sounding
      - pytest
    depends_on:
      - channel_sounding
      - flash
      - rram
      - xip
    timeout: 300
    harness: pytest
    harness_config:
      pytest_root:
        - pytest/test_at_cmd_tag.py
      pytest_dut_scope: session
      pytest_args:
        - "-v"
        # For two-port mode, add: --at-cmd-serial=<port>
        # e.g. via twister: --pytest-args="--at-cmd-serial=COM23"
    extra_args:
      - SB_CONFIG_BOOTLOADER_MCUBOOT=y
      - SB_CONFIG_BOOT_SIGNATURE_TYPE_ECDSA_P256=y
      - SB_CONFIG_MCUBOOT_MODE_SWAP_USING_OFFSET=y
      - SB_ATM_DTS_EXTRA_CPPFLAGS="-DATM_APP_FLASH_XIP;-DATM_STORAGE_SIZE=0x1000;-DATM_MCUBOOT_SCRATCH_SIZE=0"
      - mcuboot_CONFIG_UPDATEABLE_IMAGE_NUMBER=2
      - EXTRA_CONF_FILE="basic_ota_bt.conf;basic_cs_pd50.conf;stf_tag.conf"
      - EXTRA_DTC_OVERLAY_FILE="at_cmd.overlay"
    extra_configs:
      - CONFIG_FAST_PAIR_FMDN_V2=y
      - CONFIG_BT_CHANNEL_SOUNDING=y
      - CONFIG_BT_RAS=y
      - CONFIG_FMDN_PRECISION_FINDING=y
      - CONFIG_FMDN_RANGING_OOB_DE_TYPE_UWB_EN=y
      - CONFIG_FMDN_RANGING_OOB_DE_TYPE_BLE_CS_EN=y
      - CONFIG_ATM_AT_CMD=y
      - CONFIG_AT_CMD_SET=y
      - CONFIG_AT_CMD_TAG_SET=y
      - CONFIG_TAG_LED_IND=n
      - CONFIG_TAG_BUZZER=n
      - CONFIG_TAG_BUTTON=n
```

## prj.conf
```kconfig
# Let main thread priority lower than app work queue thread
CONFIG_MAIN_THREAD_PRIORITY=2
# Increased stack for fmna and fp usage
CONFIG_SYSTEM_WORKQUEUE_STACK_SIZE=2048
CONFIG_MAIN_STACK_SIZE=2048
CONFIG_APP_WORK_Q=y
CONFIG_HWINFO=y

CONFIG_ASSERT=y

CONFIG_BT=y
CONFIG_LOG=y
CONFIG_LOG_BLOCK_IN_THREAD=y
CONFIG_BT_SMP=y
CONFIG_BT_SMP_SC_PAIR_ONLY=n
CONFIG_BT_PERIPHERAL=y

# GATT TX Power service
CONFIG_BT_TPS=y

CONFIG_BT_DEVICE_NAME="Atmosic Multimode Consumer Tag"
CONFIG_BT_DEVICE_APPEARANCE=576

CONFIG_BT_KEYS_OVERWRITE_OLDEST=y
CONFIG_BT_SMP_ALLOW_UNAUTH_OVERWRITE=y
CONFIG_BT_ID_UNPAIR_MATCHING_BONDS=y
CONFIG_BT_SMP_APP_PAIRING_ACCEPT=y
CONFIG_BT_SETTINGS=y
CONFIG_BT_EXT_ADV=y
# Service Changed indication: notify bonded clients to re-discover GATT handles after OTA
CONFIG_BT_GATT_SERVICE_CHANGED=y
CONFIG_BT_GATT_CACHING=y
# BT_L2CAP_RX_MTU = CONFIG_BT_BUF_ACL_RX_SIZE - BT_L2CAP_HDR_SIZE
CONFIG_BT_BUF_ACL_RX_SIZE=516
CONFIG_BT_L2CAP_TX_MTU=512
CONFIG_BT_GATT_ENFORCE_SUBSCRIPTION=n
CONFIG_BT_RX_STACK_SIZE=2560
CONFIG_BT_BUF_CMD_TX_COUNT=2

# Prevents conflicts with the strict, proprietary connection parameter specifications mandated
CONFIG_BT_GAP_AUTO_UPDATE_CONN_PARAMS=n

# Flash
CONFIG_FLASH_PAGE_LAYOUT=y
CONFIG_ATM_SETTINGS=y
CONFIG_MPU_ALLOW_FLASH_WRITE=y

# Memory optimization
CONFIG_BT_BUF_EVT_DISCARDABLE_COUNT=1

# Battery
CONFIG_ADC=y
CONFIG_BATT_MODEL_COIN=y

# PWM buzzer
# CONFIG_ATM_BUZZER=y

# FMNA tag
CONFIG_MAX_TX_PWR=4

# Enable debug
# CONFIG_MULTIMODE_CONSUMER_TAG_LOG_LEVEL_DBG=y
# CONFIG_ATM_GFPS_LOG_LEVEL_DBG=y
# CONFIG_ATM_DULT_LOG_LEVEL_DBG=y

# Multimode consumer tag
#default fmna (3) + fp (1) + stf (1) + CS (1)
CONFIG_BT_ID_MAX=6
#default fmna (1) + fp (2) + stf (1) + CS (1)
CONFIG_BT_EXT_ADV_MAX_ADV_SET=5
CONFIG_ATM_MAX_ADV_SET=5

CONFIG_BT_MAX_CONN=4
CONFIG_BT_MAX_PAIRED=8
CONFIG_BT_BUF_EVT_RX_COUNT=4

CONFIG_ATM_STF_MULTI_MODE=y
```

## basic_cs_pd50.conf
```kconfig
# Channel Sounding (CS) Configuration for PD50
# This configuration enables CS reflector functionality with basic settings

# Bluetooth ATT configuration
CONFIG_BT_ATT_TX_COUNT=4

# BT Stack Library - Enable required features for Channel Sounding
# Enable Power Control feature
CONFIG_ATM_ENA_LL_FEAT_PC=y
# Enable Channel Sounding feature
CONFIG_ATM_ENA_LL_FEAT_CS=y
```

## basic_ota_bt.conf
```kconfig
# Copyright (c) 2025-2026 Atmosic
#
# SPDX-License-Identifier: LicenseRef-Atmosic

# Enable MCUmgr with image and OS management command groups
CONFIG_ATM_MCUMGR=y

# Enable MCUmgr Bluetooth transport with encryption (level 2)
CONFIG_MCUMGR_TRANSPORT_BT=y
CONFIG_MCUMGR_TRANSPORT_BT_PERM_RW_ENCRYPT=y

# Enable the notification system and command status hooks
CONFIG_MCUMGR_MGMT_NOTIFICATION_HOOKS=y
CONFIG_MCUMGR_SMP_COMMAND_STATUS_HOOKS=y
```

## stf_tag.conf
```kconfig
# BT
CONFIG_BT=y
CONFIG_BT_PERIPHERAL=y
CONFIG_BT_GATT_SERVICE_CHANGED=y
CONFIG_BT_GATT_DYNAMIC_DB=y
CONFIG_BT_RX_STACK_SIZE=4096
CONFIG_BT_L2CAP_TX_MTU=247
CONFIG_BT_BUF_ACL_RX_SIZE=256
CONFIG_BT_CONN_PARAM_UPDATE_TIMEOUT=6000

# Kernel
CONFIG_KERNEL_MEM_POOL=y
CONFIG_DEBUG_THREAD_INFO=y
CONFIG_LOG_PROCESS_THREAD_STACK_SIZE=2048
CONFIG_ISR_STACK_SIZE=2048
CONFIG_MAIN_STACK_SIZE=2560
CONFIG_SYSTEM_WORKQUEUE_STACK_SIZE=2048
CONFIG_PRIVILEGED_STACK_SIZE=2048
CONFIG_IDLE_STACK_SIZE=2048

# NVS
CONFIG_FLASH=y
CONFIG_FLASH_PAGE_LAYOUT=y
CONFIG_NVS=y
CONFIG_REBOOT=y
CONFIG_MPU_ALLOW_FLASH_WRITE=y

# PSA Crypto
CONFIG_MBEDTLS_BASE64_C=y
CONFIG_PSA_WANT_ALG_CBC_PKCS7=y
CONFIG_PSA_WANT_ECC_MONTGOMERY_255=y

CONFIG_EVENTS=y
CONFIG_STREAM_FLASH=y
CONFIG_STREAM_FLASH_ERASE=y

CONFIG_ADC=y
CONFIG_PWM=y
```

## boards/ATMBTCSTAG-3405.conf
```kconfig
# Copyright (c) 2025-2026 Atmosic
#
# SPDX-License-Identifier: LicenseRef-Atmosic

# Enable button power control
CONFIG_TAG_BTN_POWER_CTRL=y

# Enable factory reset with long press button
CONFIG_TAG_BTN_FACTORY_RESET=y

# Enable battery level detection with button
CONFIG_TAG_BTN_BATT_REPORT=y

# Enable LED indication
CONFIG_TAG_LED_IND=y

# Enable audio feedback for factory reset
CONFIG_TAG_AUDIO_FEEDBACK=y
```

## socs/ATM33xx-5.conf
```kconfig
# Copyright (c) 2025 Atmosic
#
# SPDX-License-Identifier: Apache-2.0

# *** DEPRECATION WARNING - DO NOT MODIFY ***

CONFIG_HEAP_MEM_POOL_SIZE=10240
CONFIG_LOG_MODE_IMMEDIATE=y
```

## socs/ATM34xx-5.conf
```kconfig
# Copyright (c) 2025 Atmosic
#
# SPDX-License-Identifier: Apache-2.0

# *** DEPRECATION WARNING - DO NOT MODIFY ***

CONFIG_HEAP_MEM_POOL_SIZE=20480
```

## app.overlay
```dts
/*
 * Copyright (c) 2025-2026 Atmosic
 *
 * SPDX-License-Identifier: LicenseRef-Atmosic
 */

/ {
	zephyr,user {
		io-channels = <&adc 1>;
	};
	aliases {
		tag-pwm = &pwm_led0;
		sw0 = &button1;
	};
};

&wdog0 {
	status = "okay";
};

&soc_off {
	status = "okay";
};

&cpu0 {
	cpu-power-states = <&idle &sleep &retain &hibernate &soc_off>;
};
```

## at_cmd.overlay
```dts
/*
 * Copyright (c) 2026 Atmosic
 *
 * SPDX-License-Identifier: LicenseRef-Atmosic
 */

&uart0 {
	current-speed = <115200>;
	status = "okay";
};
```

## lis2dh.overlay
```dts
/*
 * Copyright (c) 2026 Atmosic
 *
 * SPDX-License-Identifier: Apache-2.0
 */

&arduino_i2c {
	status = "okay";
	clock-frequency = <I2C_BITRATE_FAST>;

	lis2dh12: lis2dh12@19 {
		compatible = "st,lis2dh12", "st,lis2dh";
		reg = <0x19>;
		label = "LIS2DH12";
	};
};
```

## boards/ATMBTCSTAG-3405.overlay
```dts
/*
 * Copyright (c) 2025-2026 Atmosic
 *
 * SPDX-License-Identifier: LicenseRef-Atmosic
 */

/ {
	zephyr,user {
		io-channels = <&adc 1>;
	};
	aliases {
		tag-pwm = &pwm_buzzer0;
	};
};

&wdog0 {
	status = "okay";
};

&soc_off {
	status = "okay";
};

&cpu0 {
	cpu-power-states = <&idle &sleep &retain &hibernate &soc_off>;
};

&arduino_i2c {
	status = "okay";
	clock-frequency = <I2C_BITRATE_FAST>;

	lis2dh12: lis2dh12@19 {
		compatible = "st,lis2dh12", "st,lis2dh";
		reg = <0x19>;
		label = "LIS2DH12";
	};
};

/ {
	chosen {
		atm,motion-sensor = &lis2dh12;
	};
};
```

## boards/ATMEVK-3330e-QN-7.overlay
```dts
/*
 * Copyright (C) Atmosic 2026
 *
 * SPDX-License-Identifier: LicenseRef-Atmosic
 */

#include "../app.overlay"

&arduino_i2c {
	status = "okay";
	clock-frequency = <I2C_BITRATE_FAST>;

	lis2dh12: lis2dh12@19 {
		compatible = "st,lis2dh12", "st,lis2dh";
		reg = <0x19>;
		label = "LIS2DH12";
	};
};

/ {
	chosen {
		atm,motion-sensor = &lis2dh12;
	};
};
```

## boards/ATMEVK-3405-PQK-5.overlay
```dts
/* Copyright (c) 2025 Atmosic
 *
 * SPDX-License-Identifier: Apache-2.0
 */

/ {
	buzzer: buzzer {
		pwms = <&pwm7 7 PWM_USEC(1000) PWM_POLARITY_NORMAL>;
	};
};

&pwm7 {
	pin = <7>;
	status = "okay";
};
```

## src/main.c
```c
/*
 * Copyright (c) 2025-2026 Atmosic
 *
 * SPDX-License-Identifier: LicenseRef-Atmosic
 */

#include <zephyr/bluetooth/bluetooth.h>
#include <zephyr/logging/log.h>
#include <zephyr/kernel.h>
#include <zephyr/device.h>
#include <zephyr/settings/settings.h>
#include <zephyr/pm/pm.h>
#include <zephyr/pm/policy.h>
#include "app_work_q.h"
#include "platform.h"
#include "platform_ctrl_button.h"
#ifdef CONFIG_TAG_LED_IND
#include "platform_ctrl_led.h"
#endif
#ifdef CONFIG_TAG_OTA_MODE
#include "platform_ctrl_ota.h"
#endif
#include "platform_ctrl_wdt.h"
#ifdef CONFIG_STF_TAG
#include "TagSdk.h"
#endif
#ifdef CONFIG_AT_CMD_SET
#include "at_cmd_uart.h"
#include "at_cmd_event.h"
#endif

LOG_MODULE_REGISTER(multimode_consumer_tag, CONFIG_MULTIMODE_CONSUMER_TAG_LOG_LEVEL);

static void tag_init_work_handler(struct k_work *work)
{
	platform_init();
}

K_WORK_DEFINE(consumer_tag_init, tag_init_work_handler);

static void tag_bt_ready(void)
{
	if (!bt_is_ready()) {
		LOG_ERR("bt_is_ready is not ready");
#ifdef CONFIG_AT_CMD_SET
		at_cmd_evt_tag_error(at_cmd_set_uart_ch_get(),
				     platform_tag_supported_mode_mask_get(),
				     AT_CMD_TAG_ERR_BLE_INIT);
#endif
	}

	/* defer platform_init to app_work_q */
	atm_work_submit_to_app_work_q(&consumer_tag_init);
}

int main(void)
{
	int err = platform_ctrl_wdt_init();
	if (err) {
		LOG_ERR("platform_ctrl_wdt_init failed (err %d)", err);
		return 0;
	}
	platform_ctrl_wdt_feed_timer_start();

#ifdef CONFIG_TAG_BUTTON
	if (!platform_ctrl_button_init()) {
		LOG_INF("skip power on");
#ifdef CONFIG_PM
		// stop wdt feed timer to prevent unnecessary wakeup
		platform_ctrl_wdt_feed_timer_stop();
		pm_policy_state_lock_put(PM_STATE_SOFT_OFF, PM_ALL_SUBSTATES);
#endif
		return 0;
	}
#endif /* CONFIG_TAG_BUTTON */

#ifdef CONFIG_STF_TAG
	TagInit();
#endif
	err = bt_enable(NULL);
	if (err) {
		LOG_WRN("Bluetooth enabled failed (err %d)", err);
		return 0;
	}
	LOG_INF("Bluetooth initialized");

	if (IS_ENABLED(CONFIG_SETTINGS)) {
		settings_load();
	}

#ifdef CONFIG_AT_CMD_SET
	err = at_cmd_uart_multimode_tag_init();
	if (err) {
		LOG_ERR("AT command init failed (err %d)", err);
		return 0;
	}
#endif

	platform_indicate_state(TAG_IND_STATE_BOOTED, platform_tag_supported_mode_mask_get());

#ifdef CONFIG_TAG_OTA_MODE
	if (platform_ctrl_ota_init()) {
		LOG_INF("System is in OTA mode");
		platform_indicate_state(TAG_IND_STATE_OTA_IN_PROGRESS,
					platform_tag_supported_mode_mask_get());
		return 0;
	}
#endif // CONFIG_TAG_OTA_MODE

	tag_bt_ready();

	return 0;
}
```
